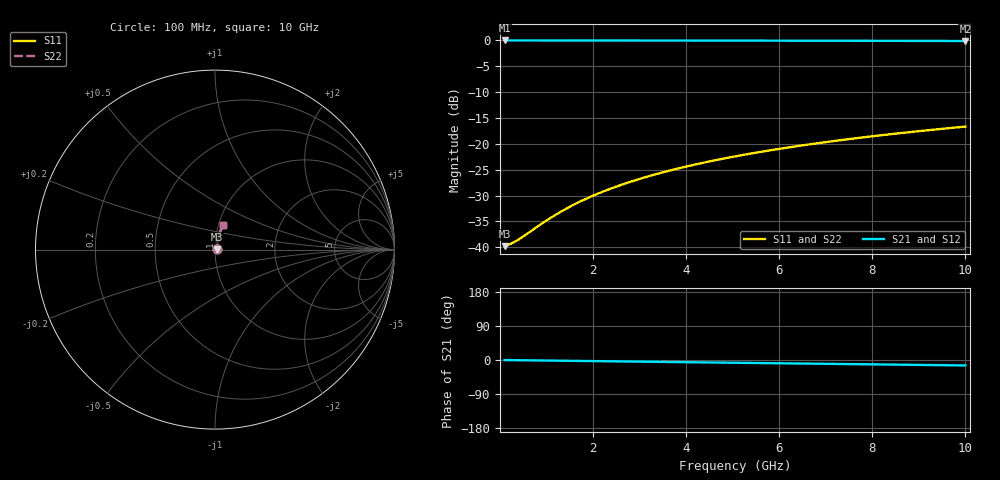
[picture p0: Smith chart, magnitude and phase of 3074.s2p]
# Hz S RI R 50.00
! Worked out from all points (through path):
!   100 points, 100 MHz to 10 GHz, reference 50 ohm
!   highest |S21| = -0.09 dB at 100 MHz (marker M1); lowest = -0.2 dB at 10 GHz (marker M2)
!   group delay of S21, straight-line fit = 3.99 ps
!   lowest |S11| = -39.8 dB at 100 MHz (marker M3), VSWR 1.02, Z = 51 + j0.149 ohm
!   |S11| at or under -10 dB: start of sweep to end of sweep
!   |S22| runs from -39.8 to -16.7 dB; largest |S21 - S12| = 0
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1e8  0.0102 0.00146  0.9898 -0.0025  0.9898 -0.0025  0.0102 0.00146
2e8  0.0103 0.00292  0.9897 -0.00499  0.9897 -0.00499  0.0103 0.00292
3e8  0.0103 0.00438  0.9897 -0.00749  0.9897 -0.00749  0.0103 0.00438
4e8  0.0104 0.00584  0.9896 -0.00998  0.9896 -0.00998  0.0104 0.00584
1e9  0.0109 0.0146  0.9891 -0.0249  0.9891 -0.0249  0.0109 0.0146
1.3e9  0.0112 0.0189  0.9887 -0.0324  0.9887 -0.0324  0.0112 0.0189
1.5e9  0.0114 0.0218  0.9885 -0.0374  0.9885 -0.0374  0.0114 0.0218
1.8e9  0.0118 0.0262  0.988 -0.0449  0.988 -0.0449  0.0118 0.0262
2.1e9  0.0123 0.0305  0.9875 -0.0523  0.9875 -0.0523  0.0123 0.0305
2.5e9  0.013 0.0363  0.9866 -0.0623  0.9866 -0.0623  0.013 0.0363
2.9e9  0.0138 0.0421  0.9857 -0.0722  0.9857 -0.0722  0.0138 0.0421
3.4e9  0.015 0.0493  0.9843 -0.0845  0.9843 -0.0845  0.015 0.0493
3.8e9  0.0161 0.055  0.9831 -0.0944  0.9831 -0.0944  0.0161 0.055
4.2e9  0.0173 0.0607  0.9817 -0.1042  0.9817 -0.1042  0.0173 0.0607
4.6e9  0.0186 0.0663  0.9802 -0.114  0.9802 -0.114  0.0186 0.0663
5.1e9  0.0204 0.0733  0.9781 -0.1262  0.9781 -0.1262  0.0204 0.0733
5.9e9  0.0237 0.0844  0.9744 -0.1457  0.9744 -0.1457  0.0237 0.0844
6.7e9  0.0273 0.0954  0.9702 -0.165  0.9702 -0.165  0.0273 0.0954
7.5e9  0.0314 0.1062  0.9654 -0.184  0.9654 -0.184  0.0314 0.1062
8.4e9  0.0365 0.1181  0.9596 -0.2053  0.9596 -0.2053  0.0365 0.1181
9.2e9  0.0415 0.1284  0.9538 -0.224  0.9538 -0.224  0.0415 0.1284
1e10  0.0469 0.1385  0.9476 -0.2424  0.9476 -0.2424  0.0469 0.1385
